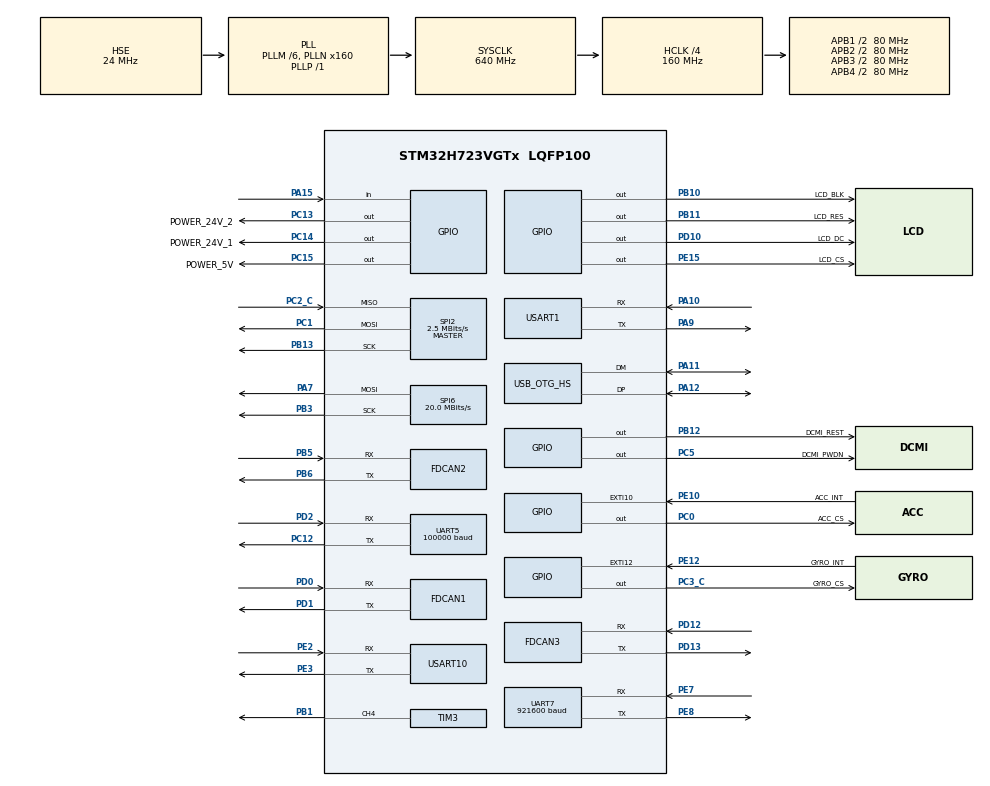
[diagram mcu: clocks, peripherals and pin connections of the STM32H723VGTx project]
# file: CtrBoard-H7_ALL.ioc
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Dma.Request0=UART5_RX
Dma.Request1=SPI2_RX
Dma.Request2=SPI2_TX
Dma.Request3=USART10_RX
Dma.Request4=USART1_RX
Dma.Request5=USART1_TX
Dma.Request6=UART7_RX
Dma.Request7=UART7_TX
Dma.SPI2_RX.1.Direction=DMA_PERIPH_TO_MEMORY
Dma.SPI2_RX.1.EventEnable=DISABLE
Dma.SPI2_RX.1.FIFOMode=DMA_FIFOMODE_DISABLE
Dma.SPI2_RX.1.Instance=DMA2_Stream0
Dma.SPI2_RX.1.MemDataAlignment=DMA_MDATAALIGN_BYTE
Dma.SPI2_RX.1.MemInc=DMA_MINC_ENABLE
Dma.SPI2_RX.1.Mode=DMA_NORMAL
Dma.SPI2_RX.1.PeriphDataAlignment=DMA_PDATAALIGN_BYTE
Dma.SPI2_RX.1.PeriphInc=DMA_PINC_DISABLE
Dma.SPI2_RX.1.Polarity=HAL_DMAMUX_REQ_GEN_RISING
Dma.SPI2_RX.1.Priority=DMA_PRIORITY_VERY_HIGH
Dma.SPI2_RX.1.RequestNumber=1
Dma.SPI2_RX.1.SignalID=NONE
Dma.SPI2_RX.1.SyncEnable=DISABLE
Dma.SPI2_RX.1.SyncPolarity=HAL_DMAMUX_SYNC_NO_EVENT
Dma.SPI2_RX.1.SyncRequestNumber=1
Dma.SPI2_RX.1.SyncSignalID=NONE
Dma.SPI2_TX.2.Direction=DMA_MEMORY_TO_PERIPH
Dma.SPI2_TX.2.EventEnable=DISABLE
Dma.SPI2_TX.2.FIFOMode=DMA_FIFOMODE_DISABLE
Dma.SPI2_TX.2.Instance=DMA2_Stream1
Dma.SPI2_TX.2.MemDataAlignment=DMA_MDATAALIGN_BYTE
Dma.SPI2_TX.2.MemInc=DMA_MINC_ENABLE
Dma.SPI2_TX.2.Mode=DMA_NORMAL
Dma.SPI2_TX.2.PeriphDataAlignment=DMA_PDATAALIGN_BYTE
Dma.SPI2_TX.2.PeriphInc=DMA_PINC_DISABLE
Dma.SPI2_TX.2.Polarity=HAL_DMAMUX_REQ_GEN_RISING
Dma.SPI2_TX.2.Priority=DMA_PRIORITY_HIGH
Dma.SPI2_TX.2.RequestNumber=1
Dma.SPI2_TX.2.SignalID=NONE
Dma.SPI2_TX.2.SyncEnable=DISABLE
Dma.SPI2_TX.2.SyncPolarity=HAL_DMAMUX_SYNC_NO_EVENT
Dma.SPI2_TX.2.SyncRequestNumber=1
Dma.SPI2_TX.2.SyncSignalID=NONE
Dma.UART5_RX.0.Direction=DMA_PERIPH_TO_MEMORY
Dma.UART5_RX.0.EventEnable=DISABLE
Dma.UART5_RX.0.FIFOMode=DMA_FIFOMODE_DISABLE
Dma.UART5_RX.0.Instance=DMA1_Stream1
Dma.UART5_RX.0.MemDataAlignment=DMA_MDATAALIGN_BYTE
Dma.UART5_RX.0.MemInc=DMA_MINC_ENABLE
Dma.UART5_RX.0.Mode=DMA_CIRCULAR
Dma.UART5_RX.0.PeriphDataAlignment=DMA_PDATAALIGN_BYTE
Dma.UART5_RX.0.PeriphInc=DMA_PINC_DISABLE
Dma.UART5_RX.0.Polarity=HAL_DMAMUX_REQ_GEN_RISING
Dma.UART5_RX.0.Priority=DMA_PRIORITY_VERY_HIGH
Dma.UART5_RX.0.RequestNumber=1
Dma.UART5_RX.0.SignalID=NONE
Dma.UART5_RX.0.SyncEnable=DISABLE
Dma.UART5_RX.0.SyncPolarity=HAL_DMAMUX_SYNC_NO_EVENT
Dma.UART5_RX.0.SyncRequestNumber=1
Dma.UART5_RX.0.SyncSignalID=NONE
Dma.UART7_RX.6.Direction=DMA_PERIPH_TO_MEMORY
Dma.UART7_RX.6.EventEnable=DISABLE
Dma.UART7_RX.6.FIFOMode=DMA_FIFOMODE_DISABLE
Dma.UART7_RX.6.Instance=DMA1_Stream3
Dma.UART7_RX.6.MemDataAlignment=DMA_MDATAALIGN_BYTE
Dma.UART7_RX.6.MemInc=DMA_MINC_ENABLE
Dma.UART7_RX.6.Mode=DMA_NORMAL
Dma.UART7_RX.6.PeriphDataAlignment=DMA_PDATAALIGN_BYTE
Dma.UART7_RX.6.PeriphInc=DMA_PINC_DISABLE
Dma.UART7_RX.6.Polarity=HAL_DMAMUX_REQ_GEN_RISING
Dma.UART7_RX.6.Priority=DMA_PRIORITY_LOW
Dma.UART7_RX.6.RequestNumber=1
Dma.UART7_RX.6.SignalID=NONE
Dma.UART7_RX.6.SyncEnable=DISABLE
Dma.UART7_RX.6.SyncPolarity=HAL_DMAMUX_SYNC_NO_EVENT
Dma.UART7_RX.6.SyncRequestNumber=1
Dma.UART7_RX.6.SyncSignalID=NONE
Dma.UART7_TX.7.Direction=DMA_MEMORY_TO_PERIPH
Dma.UART7_TX.7.EventEnable=DISABLE
Dma.UART7_TX.7.FIFOMode=DMA_FIFOMODE_DISABLE
Dma.UART7_TX.7.Instance=DMA1_Stream4
Dma.UART7_TX.7.MemDataAlignment=DMA_MDATAALIGN_BYTE
Dma.UART7_TX.7.MemInc=DMA_MINC_ENABLE
Dma.UART7_TX.7.Mode=DMA_NORMAL
Dma.UART7_TX.7.PeriphDataAlignment=DMA_PDATAALIGN_BYTE
Dma.UART7_TX.7.PeriphInc=DMA_PINC_DISABLE
Dma.UART7_TX.7.Polarity=HAL_DMAMUX_REQ_GEN_RISING
Dma.UART7_TX.7.Priority=DMA_PRIORITY_LOW
Dma.UART7_TX.7.RequestNumber=1
Dma.UART7_TX.7.SignalID=NONE
Dma.UART7_TX.7.SyncEnable=DISABLE
Dma.UART7_TX.7.SyncPolarity=HAL_DMAMUX_SYNC_NO_EVENT
Dma.UART7_TX.7.SyncRequestNumber=1
Dma.UART7_TX.7.SyncSignalID=NONE
Dma.USART10_RX.3.Direction=DMA_PERIPH_TO_MEMORY
Dma.USART10_RX.3.EventEnable=DISABLE
Dma.USART10_RX.3.FIFOMode=DMA_FIFOMODE_DISABLE
Dma.USART10_RX.3.Instance=DMA1_Stream2
Dma.USART10_RX.3.MemDataAlignment=DMA_MDATAALIGN_BYTE
Dma.USART10_RX.3.MemInc=DMA_MINC_ENABLE
Dma.USART10_RX.3.Mode=DMA_NORMAL
Dma.USART10_RX.3.PeriphDataAlignment=DMA_PDATAALIGN_BYTE
Dma.USART10_RX.3.PeriphInc=DMA_PINC_DISABLE
Dma.USART10_RX.3.Polarity=HAL_DMAMUX_REQ_GEN_RISING
Dma.USART10_RX.3.Priority=DMA_PRIORITY_HIGH
Dma.USART10_RX.3.RequestNumber=1
Dma.USART10_RX.3.SignalID=NONE
Dma.USART10_RX.3.SyncEnable=DISABLE
Dma.USART10_RX.3.SyncPolarity=HAL_DMAMUX_SYNC_NO_EVENT
Dma.USART10_RX.3.SyncRequestNumber=1
Dma.USART10_RX.3.SyncSignalID=NONE
Dma.USART1_RX.4.Direction=DMA_PERIPH_TO_MEMORY
Dma.USART1_RX.4.EventEnable=DISABLE
Dma.USART1_RX.4.FIFOMode=DMA_FIFOMODE_DISABLE
Dma.USART1_RX.4.Instance=DMA1_Stream5
Dma.USART1_RX.4.MemDataAlignment=DMA_MDATAALIGN_BYTE
Dma.USART1_RX.4.MemInc=DMA_MINC_ENABLE
Dma.USART1_RX.4.Mode=DMA_NORMAL
Dma.USART1_RX.4.PeriphDataAlignment=DMA_PDATAALIGN_BYTE
Dma.USART1_RX.4.PeriphInc=DMA_PINC_DISABLE
Dma.USART1_RX.4.Polarity=HAL_DMAMUX_REQ_GEN_RISING
Dma.USART1_RX.4.Priority=DMA_PRIORITY_VERY_HIGH
Dma.USART1_RX.4.RequestNumber=1
Dma.USART1_RX.4.SignalID=NONE
Dma.USART1_RX.4.SyncEnable=DISABLE
Dma.USART1_RX.4.SyncPolarity=HAL_DMAMUX_SYNC_NO_EVENT
Dma.USART1_RX.4.SyncRequestNumber=1
Dma.USART1_RX.4.SyncSignalID=NONE
Dma.USART1_TX.5.Direction=DMA_MEMORY_TO_PERIPH
Dma.USART1_TX.5.EventEnable=DISABLE
Dma.USART1_TX.5.FIFOMode=DMA_FIFOMODE_DISABLE
Dma.USART1_TX.5.Instance=DMA1_Stream6
Dma.USART1_TX.5.MemDataAlignment=DMA_MDATAALIGN_BYTE
Dma.USART1_TX.5.MemInc=DMA_MINC_ENABLE
Dma.USART1_TX.5.Mode=DMA_NORMAL
Dma.USART1_TX.5.PeriphDataAlignment=DMA_PDATAALIGN_BYTE
Dma.USART1_TX.5.PeriphInc=DMA_PINC_DISABLE
Dma.USART1_TX.5.Polarity=HAL_DMAMUX_REQ_GEN_RISING
Dma.USART1_TX.5.Priority=DMA_PRIORITY_VERY_HIGH
Dma.USART1_TX.5.RequestNumber=1
Dma.USART1_TX.5.SignalID=NONE
Dma.USART1_TX.5.SyncEnable=DISABLE
Dma.USART1_TX.5.SyncPolarity=HAL_DMAMUX_SYNC_NO_EVENT
Dma.USART1_TX.5.SyncRequestNumber=1
Dma.USART1_TX.5.SyncSignalID=NONE
FDCAN1.AutoRetransmission=DISABLE
FDCAN1.CalculateBaudRateNominal=833333
FDCAN1.CalculateTimeBitNominal=1200
FDCAN1.CalculateTimeQuantumNominal=30.0
FDCAN1.DataPrescaler=3
FDCAN1.DataSyncJumpWidth=10
FDCAN1.DataTimeSeg1=29
FDCAN1.DataTimeSeg2=10
FDCAN1.ExtFiltersNbr=0
FDCAN1.FrameFormat=FDCAN_FRAME_CLASSIC
FDCAN1.MessageRAMOffset=0
FDCAN1.NominalPrescaler=3
FDCAN1.NominalSyncJumpWidth=10
FDCAN1.NominalTimeSeg1=29
FDCAN1.NominalTimeSeg2=10
FDCAN1.ProtocolException=ENABLE
FDCAN1.RxBuffersNbr=0
FDCAN1.RxFifo0ElmtsNbr=4
FDCAN1.RxFifo1ElmtsNbr=0
FDCAN1.StdFiltersNbr=14
FDCAN1.TxBuffersNbr=0
FDCAN1.TxEventsNbr=0
FDCAN1.TxFifoQueueElmtsNbr=4
FDCAN2.AutoRetransmission=DISABLE
FDCAN2.CalculateBaudRateNominal=833333
FDCAN2.CalculateTimeBitNominal=1200
FDCAN2.CalculateTimeQuantumNominal=30.0
FDCAN2.DataPrescaler=3
FDCAN2.DataSyncJumpWidth=10
FDCAN2.DataTimeSeg1=29
FDCAN2.DataTimeSeg2=10
FDCAN2.ExtFiltersNbr=0
FDCAN2.FrameFormat=FDCAN_FRAME_CLASSIC
FDCAN2.MessageRAMOffset=852
FDCAN2.NominalPrescaler=3
FDCAN2.NominalSyncJumpWidth=10
FDCAN2.NominalTimeSeg1=29
FDCAN2.NominalTimeSeg2=10
FDCAN2.ProtocolException=DISABLE
FDCAN2.RxBuffersNbr=0
FDCAN2.RxFifo0ElmtsNbr=0
FDCAN2.RxFifo1ElmtsNbr=4
FDCAN2.StdFiltersNbr=14
FDCAN2.TxBuffersNbr=0
FDCAN2.TxEventsNbr=0
FDCAN2.TxFifoQueueElmtsNbr=4
FDCAN3.AutoRetransmission=DISABLE
FDCAN3.CalculateBaudRateNominal=833333
FDCAN3.CalculateTimeBitNominal=1200
FDCAN3.CalculateTimeQuantumNominal=30.0
FDCAN3.DataPrescaler=3
FDCAN3.DataSyncJumpWidth=10
FDCAN3.DataTimeSeg1=29
FDCAN3.DataTimeSeg2=10
FDCAN3.ExtFiltersNbr=0
FDCAN3.FrameFormat=FDCAN_FRAME_CLASSIC
FDCAN3.MessageRAMOffset=1706
FDCAN3.NominalPrescaler=3
FDCAN3.NominalSyncJumpWidth=10
FDCAN3.NominalTimeSeg1=29
FDCAN3.NominalTimeSeg2=10
FDCAN3.ProtocolException=DISABLE
FDCAN3.RxBuffersNbr=0
FDCAN3.RxFifo0ElmtsNbr=4
FDCAN3.RxFifo1ElmtsNbr=0
FDCAN3.StdFiltersNbr=14
FDCAN3.TxBuffersNbr=0
FDCAN3.TxEventsNbr=0
FDCAN3.TxFifoQueueElmtsNbr=4
FREERTOS.INCLUDE_eTaskGetState=1
FREERTOS.INCLUDE_uxTaskGetStackHighWaterMark=1
FREERTOS.INCLUDE_vTaskDelayUntil=1
FREERTOS.INCLUDE_xQueueGetMutexHolder=1
FREERTOS.INCLUDE_xTaskGetCurrentTaskHandle=1
FREERTOS.INCLUDE_xTimerPendFunctionCall=1
FREERTOS.Tasks01=defaultTask,2,128,StartDefaultTask,As weak,NULL,Dynamic,NULL,NULL
FREERTOS.configENABLE_FPU=1
FREERTOS.configTOTAL_HEAP_SIZE=200000
FREERTOS.configUSE_COUNTING_SEMAPHORES=1
FREERTOS.configUSE_NEWLIB_REENTRANT=1
FREERTOS.configUSE_RECURSIVE_MUTEXES=1
FREERTOS.configUSE_TIMERS=1
FREERTOS.configUSE_TRACE_FACILITY=1
Mcu.Family=STM32H7
Mcu.Name=STM32H723VGTx
Mcu.Package=LQFP100
NVIC.DMA1_Stream1_IRQn=true\:5\:0\:false\:false\:true\:true\:false\:true\:true
NVIC.DMA1_Stream2_IRQn=true\:5\:0\:false\:false\:true\:false\:false\:true\:true
NVIC.DMA1_Stream3_IRQn=true\:5\:0\:false\:false\:true\:false\:false\:true\:true
NVIC.DMA1_Stream4_IRQn=true\:5\:0\:false\:false\:true\:false\:false\:true\:true
NVIC.DMA1_Stream5_IRQn=true\:5\:0\:false\:false\:true\:false\:false\:true\:true
NVIC.DMA1_Stream6_IRQn=true\:5\:0\:false\:false\:true\:false\:false\:true\:true
NVIC.DMA2_Stream0_IRQn=true\:5\:0\:false\:false\:true\:false\:false\:true\:true
NVIC.DMA2_Stream1_IRQn=true\:5\:0\:false\:false\:true\:false\:false\:true\:true
NVIC.FDCAN1_IT0_IRQn=true\:5\:0\:false\:false\:true\:true\:true\:true\:true
NVIC.FDCAN2_IT0_IRQn=true\:5\:0\:false\:false\:true\:true\:true\:true\:true
NVIC.FDCAN3_IT0_IRQn=true\:5\:0\:false\:false\:true\:true\:true\:true\:true
NVIC.OTG_HS_IRQn=true\:5\:0\:false\:false\:true\:true\:true\:true\:true
NVIC.PriorityGroup=NVIC_PRIORITYGROUP_4
NVIC.SPI2_IRQn=true\:5\:0\:false\:false\:true\:true\:false\:true\:true
NVIC.TIM23_IRQn=true\:15\:0\:true\:false\:true\:false\:false\:true\:true
NVIC.TIM4_IRQn=true\:5\:0\:false\:false\:true\:true\:true\:true\:true
NVIC.TimeBase=TIM23_IRQn
NVIC.TimeBaseIP=TIM23
NVIC.UART5_IRQn=true\:5\:0\:false\:false\:true\:true\:true\:true\:true
NVIC.UART7_IRQn=true\:5\:0\:false\:false\:true\:true\:true\:true\:true
NVIC.USART10_IRQn=true\:5\:0\:false\:false\:true\:true\:true\:true\:true
NVIC.USART1_IRQn=true\:5\:0\:false\:false\:true\:true\:true\:true\:true
PA1.Signal=OCTOSPIM_P1_IO3
PA10.Mode=Asynchronous
PA10.Signal=USART1_RX
PA11.Mode=Device_Only_FS
PA11.Signal=USB_OTG_HS_DM
PA12.Mode=Device_Only_FS
PA12.Signal=USB_OTG_HS_DP
PA13(JTMS/SWDIO).Signal=DEBUG_JTMS-SWDIO
PA14(JTCK/SWCLK).Signal=DEBUG_JTCK-SWCLK
PA15(JTDI).Signal=GPIO_Input
PA3.Signal=OCTOSPIM_P1_IO2
PA5.Signal=ADCx_INP19
PA7.Mode=TX_Only_Simplex_Unidirect_Master
PA7.Signal=SPI6_MOSI
PA8.Signal=RCC_MCO_1
PA9.GPIO_Speed=GPIO_SPEED_FREQ_LOW
PA9.Mode=Asynchronous
PA9.Signal=USART1_TX
PB0.Signal=OCTOSPIM_P1_IO1
PB1.Signal=S_TIM3_CH4
PB10.GPIO_Label=LCD_BLK
PB10.Signal=GPIO_Output
PB11.GPIO_Label=LCD_RES
PB11.Signal=GPIO_Output
PB12.GPIO_Label=DCMI_REST
PB12.GPIO_PuPd=GPIO_PULLUP
PB12.GPIO_Speed=GPIO_SPEED_FREQ_VERY_HIGH
PB12.PinState=GPIO_PIN_SET
PB12.Signal=GPIO_Output
PB13.GPIO_Speed=GPIO_SPEED_FREQ_VERY_HIGH
PB13.Mode=Full_Duplex_Master
PB13.Signal=SPI2_SCK
PB15.Signal=S_TIM12_CH2
PB2.Signal=OCTOSPIM_P1_CLK
PB3(JTDO/TRACESWO).Mode=TX_Only_Simplex_Unidirect_Master
PB3(JTDO/TRACESWO).Signal=SPI6_SCK
PB5.Mode=FDCAN_Activate
PB5.Signal=FDCAN2_RX
PB6.Mode=FDCAN_Activate
PB6.Signal=FDCAN2_TX
PC0.GPIO_Label=ACC_CS
PC0.GPIO_Speed=GPIO_SPEED_FREQ_VERY_HIGH
PC0.PinState=GPIO_PIN_SET
PC0.Signal=GPIO_Output
PC1.GPIO_Speed=GPIO_SPEED_FREQ_VERY_HIGH
PC1.Mode=Full_Duplex_Master
PC1.Signal=SPI2_MOSI
PC12.GPIO_Speed=GPIO_SPEED_FREQ_LOW
PC12.Mode=Asynchronous
PC12.Signal=UART5_TX
PC13.GPIO_Label=POWER_24V_2
PC13.PinState=GPIO_PIN_SET
PC13.Signal=GPIO_Output
PC14-OSC32_IN.GPIO_Label=POWER_24V_1
PC14-OSC32_IN.PinState=GPIO_PIN_SET
PC14-OSC32_IN.Signal=GPIO_Output
PC15-OSC32_OUT.GPIO_Label=POWER_5V
PC15-OSC32_OUT.PinState=GPIO_PIN_SET
PC15-OSC32_OUT.Signal=GPIO_Output
PC2_C.GPIO_Speed=GPIO_SPEED_FREQ_VERY_HIGH
PC2_C.Mode=Full_Duplex_Master
PC2_C.Signal=SPI2_MISO
PC3_C.GPIO_Label=GYRO_CS
PC3_C.GPIO_Speed=GPIO_SPEED_FREQ_VERY_HIGH
PC3_C.PinState=GPIO_PIN_SET
PC3_C.Signal=GPIO_Output
PC4.Signal=ADCx_INP4
PC5.GPIO_Label=DCMI_PWDN
PC5.GPIO_PuPd=GPIO_NOPULL
PC5.GPIO_Speed=GPIO_SPEED_FREQ_VERY_HIGH
PC5.PinState=GPIO_PIN_SET
PC5.Signal=GPIO_Output
PD0.Mode=FDCAN_Activate
PD0.Signal=FDCAN1_RX
PD1.Mode=FDCAN_Activate
PD1.Signal=FDCAN1_TX
PD10.GPIO_Label=LCD_DC
PD10.Signal=GPIO_Output
PD11.Signal=OCTOSPIM_P1_IO0
PD12.Mode=FDCAN_Activate
PD12.Signal=FDCAN3_RX
PD13.Mode=FDCAN_Activate
PD13.Signal=FDCAN3_TX
PD2.GPIO_Speed=GPIO_SPEED_FREQ_LOW
PD2.Mode=Asynchronous
PD2.Signal=UART5_RX
PD4.Signal=USART2_DE
PD5.Signal=USART2_TX
PD6.Signal=USART2_RX
PD7.GPIO_Speed=GPIO_SPEED_FREQ_VERY_HIGH
PD7.Signal=SPI1_MOSI
PE10.GPIO_Label=ACC_INT
PE10.Signal=GPXTI10
PE11.Signal=OCTOSPIM_P1_NCS
PE12.GPIO_Label=GYRO_INT
PE12.Signal=GPXTI12
PE15.GPIO_Label=LCD_CS
PE15.Signal=GPIO_Output
PE2.Mode=Asynchronous
PE2.Signal=USART10_RX
PE3.Mode=Asynchronous
PE3.Signal=USART10_TX
PE7.Mode=Asynchronous
PE7.Signal=UART7_RX
PE8.Mode=Asynchronous
PE8.Signal=UART7_TX
PH0-OSC_IN.Mode=HSE-External-Oscillator
PH0-OSC_IN.Signal=RCC_OSC_IN
PH1-OSC_OUT.Mode=HSE-External-Oscillator
PH1-OSC_OUT.Signal=RCC_OSC_OUT
ProjectManager.HeapSize=0x400
ProjectManager.StackSize=0x1000
ProjectManager.TargetToolchain=STM32CubeIDE
RCC.ADCFreq_Value=100000000
RCC.APB1Freq_Value=80000000
RCC.APB2Freq_Value=80000000
RCC.APB3Freq_Value=80000000
RCC.APB4Freq_Value=80000000
RCC.CortexFreq_Value=640000000
RCC.D1PPRE=RCC_APB3_DIV2
RCC.D2PPRE1=RCC_APB1_DIV2
RCC.D2PPRE2=RCC_APB2_DIV2
RCC.D3PPRE=RCC_APB4_DIV2
RCC.DIVM1=6
RCC.DIVM2=24
RCC.DIVM3=24
RCC.DIVN1=160
RCC.DIVN2=200
RCC.DIVN3=160
RCC.DIVP1=1
RCC.DIVQ1=4
RCC.ExtClockEnable-ClockTree=true
RCC.FDCANCLockSelection=RCC_FDCANCLKSOURCE_PLL2
RCC.HCLKFreq_Value=160000000
RCC.HPRE=RCC_HCLK_DIV4
RCC.HSE_VALUE=24000000
RCC.PLL1_VCO_SEL-AdvancedSettings=RCC_PLL1VCOWIDE
RCC.PLL2FRACN=0
RCC.PLL2_VCI_Range-AdvancedSettings=RCC_PLL2VCIRANGE_0
RCC.PLL2_VCO_SEL-AdvancedSettings=RCC_PLL2VCOMEDIUM
RCC.PLL3FRACN=0
RCC.PLL3_VCI_Range-AdvancedSettings=RCC_PLL3VCIRANGE_0
RCC.PLL3_VCO_SEL-AdvancedSettings=RCC_PLL3VCOWIDE
RCC.PLLFRACN=0
RCC.PLLSourceVirtual=RCC_PLLSOURCE_HSE
RCC.SPI123CLockSelection=RCC_SPI123CLKSOURCE_PLL3
RCC.SYSCLKFreq_VALUE=640000000
RCC.SYSCLKSource=RCC_SYSCLKSOURCE_PLLCLK
RCC.USART16CLockSelection=RCC_USART16910CLKSOURCE_PLL2
RCC.USBCLockSelection=RCC_USBCLKSOURCE_HSI48
RCC.USBFreq_Value=48000000
SH.ADCx_INP19.0=ADC1_INP19
SH.ADCx_INP4.0=ADC1_INP4
SH.S_TIM12_CH2.0=TIM12_CH2
SH.S_TIM3_CH4.0=TIM3_CH4,PWM Generation4 CH4
SPI2.BaudRatePrescaler=SPI_BAUDRATEPRESCALER_32
SPI2.CLKPhase=SPI_PHASE_2EDGE
SPI2.CLKPolarity=SPI_POLARITY_HIGH
SPI2.CalculateBaudRate=2.5 MBits/s
SPI2.DataSize=SPI_DATASIZE_8BIT
SPI2.Direction=SPI_DIRECTION_2LINES
SPI2.Mode=SPI_MODE_MASTER
SPI2.VirtualType=VM_MASTER
SPI6.BaudRatePrescaler=SPI_BAUDRATEPRESCALER_4
SPI6.CLKPhase=SPI_PHASE_2EDGE
SPI6.CalculateBaudRate=20.0 MBits/s
SPI6.DataSize=SPI_DATASIZE_8BIT
SPI6.Direction=SPI_DIRECTION_2LINES_TXONLY
SPI6.Mode=SPI_MODE_MASTER
SPI6.VirtualType=VM_MASTER
STMicroelectronics.X-CUBE-ALGOBUILD.1.4.0.LibraryCcDSPOoLibraryJjDSPOoLibrary=true
TIM3.AutoReloadPreload=TIM_AUTORELOAD_PRELOAD_ENABLE
TIM3.Channel-PWM\ Generation4\ CH4=TIM_CHANNEL_4
TIM3.Period=10000-1
TIM3.Prescaler=24-1
TIM4.AutoReloadPreload=TIM_AUTORELOAD_PRELOAD_ENABLE
TIM4.Period=959
TIM4.Prescaler=999
UART5.BaudRate=100000
UART5.Parity=PARITY_EVEN
UART5.StopBits=UART_STOPBITS_2
UART5.WordLength=WORDLENGTH_9B
UART7.BaudRate=921600
USART1.VirtualMode-Asynchronous=VM_ASYNC
USART10.VirtualMode=VM_ASYNC
USB_DEVICE.CLASS_NAME_HS=CDC
USB_DEVICE.VirtualMode=Cdc
USB_DEVICE.VirtualModeHS=Cdc_HS
USB_OTG_HS.VirtualMode-Device_Only_FS=Device_Only_FS
VP_FREERTOS_VS_CMSIS_V1.Mode=CMSIS_V1
VP_MEMORYMAP_VS_MEMORYMAP.Mode=CurAppReg
VP_STMicroelectronics.X-CUBE-ALGOBUILD_VS_DSPOoLibraryJjLibrary_1.4.0_1.4.0.Mode=DSPOoLibraryJjLibrary
VP_SYS_VS_tim23.Mode=TIM23
VP_TIM4_VS_ClockSourceINT.Mode=Internal
VP_USB_DEVICE_VS_USB_DEVICE_CDC_HS.Mode=CDC_HS
board=custom

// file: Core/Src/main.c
/* USER CODE BEGIN Header */
/**
  ******************************************************************************
  * @file           : main.c
  * @brief          : Main program body
  ******************************************************************************
  * @attention
  *
  * Copyright (c) 2025 STMicroelectronics.
  * All rights reserved.
  *
  * This software is licensed under terms that can be found in the LICENSE file
  * in the root directory of this software component.
  * If no LICENSE file comes with this software, it is provided AS-IS.
  *
  ******************************************************************************
  */
/* USER CODE END Header */
#include "main.h"
#include "cmsis_os.h"
#include "dma.h"
#include "fdcan.h"
#include "spi.h"
#include "tim.h"
#include "usart.h"
#include "usb_device.h"
#include "gpio.h"

/* USER CODE BEGIN Includes */
#include "SEGGER_RTT.h"
#include "SEGGER_SYSVIEW.h"
#include "BMI088driver.h"
#include "drv_dwt.h"
#include "hal_can.h"
#include "robot.h"

/* USER CODE END Includes */

/* USER CODE BEGIN PTD */
// 全局声明信号量

/* USER CODE END PTD */

void SystemClock_Config(void);
void PeriphCommonClock_Config(void);
void MX_FREERTOS_Init(void);

int main(void)
{

  /* MCU Configuration--------------------------------------------------------*/

  /* Reset of all peripherals, Initializes the Flash interface and the Systick. */
  HAL_Init();

  /* Configure the system clock */
  SystemClock_Config();

  /* Configure the peripherals common clocks */
  PeriphCommonClock_Config();

  /* Initialize all configured peripherals */
  MX_GPIO_Init();
  MX_DMA_Init();
  MX_FDCAN1_Init();
  MX_FDCAN2_Init();
  MX_FDCAN3_Init();
  MX_UART5_Init();
  MX_SPI2_Init();
  MX_TIM3_Init();
  MX_TIM4_Init();
  MX_USART10_UART_Init();
  MX_SPI6_Init();
  MX_USART1_UART_Init();
  MX_UART7_Init();
  /* USER CODE BEGIN 2 */
  MX_USB_DEVICE_Init();

  dwt_init(SystemCoreClock);
  CAN_service_init();
  BMI088_init(&hspi2);
  robot_init();
  SEGGER_SYSVIEW_Conf();
  SEGGER_RTT_Init();//系统日志log初始化
  HAL_TIM_Base_Start_IT(&htim4);
  /* USER CODE END 2 */

  /* Call init function for freertos objects (in cmsis_os2.c) */
  MX_FREERTOS_Init();

  /* Start scheduler */
  osKernelStart();

  /* We should never get here as control is now taken by the scheduler */

  /* Infinite loop */
  while (1)
  {

  }
}

void SystemClock_Config(void)
{
  RCC_OscInitTypeDef RCC_OscInitStruct = {0};
  RCC_ClkInitTypeDef RCC_ClkInitStruct = {0};

  /** Supply configuration update enable
  */
  HAL_PWREx_ConfigSupply(PWR_LDO_SUPPLY);

  /** Configure the main internal regulator output voltage
  */
  __HAL_PWR_VOLTAGESCALING_CONFIG(PWR_REGULATOR_VOLTAGE_SCALE1);

  while(!__HAL_PWR_GET_FLAG(PWR_FLAG_VOSRDY)) {}

  /** Initializes the RCC Oscillators according to the specified parameters
  * in the RCC_OscInitTypeDef structure.
  */
  RCC_OscInitStruct.OscillatorType = RCC_OSCILLATORTYPE_HSI48|RCC_OSCILLATORTYPE_HSE;
  RCC_OscInitStruct.HSEState = RCC_HSE_ON;
  RCC_OscInitStruct.HSI48State = RCC_HSI48_ON;
  RCC_OscInitStruct.PLL.PLLState = RCC_PLL_ON;
  RCC_OscInitStruct.PLL.PLLSource = RCC_PLLSOURCE_HSE;
  RCC_OscInitStruct.PLL.PLLM = 6;
  RCC_OscInitStruct.PLL.PLLN = 160;
  RCC_OscInitStruct.PLL.PLLP = 1;
  RCC_OscInitStruct.PLL.PLLQ = 4;
  RCC_OscInitStruct.PLL.PLLR = 2;
  RCC_OscInitStruct.PLL.PLLRGE = RCC_PLL1VCIRANGE_2;
  RCC_OscInitStruct.PLL.PLLVCOSEL = RCC_PLL1VCOWIDE;
  RCC_OscInitStruct.PLL.PLLFRACN = 0;
  if (HAL_RCC_OscConfig(&RCC_OscInitStruct) != HAL_OK)
  {
    Error_Handler();
  }

  /** Initializes the CPU, AHB and APB buses clocks
  */
  RCC_ClkInitStruct.ClockType = RCC_CLOCKTYPE_HCLK|RCC_CLOCKTYPE_SYSCLK
                              |RCC_CLOCKTYPE_PCLK1|RCC_CLOCKTYPE_PCLK2
                              |RCC_CLOCKTYPE_D3PCLK1|RCC_CLOCKTYPE_D1PCLK1;
  RCC_ClkInitStruct.SYSCLKSource = RCC_SYSCLKSOURCE_PLLCLK;
  RCC_ClkInitStruct.SYSCLKDivider = RCC_SYSCLK_DIV1;
  RCC_ClkInitStruct.AHBCLKDivider = RCC_HCLK_DIV4;
  RCC_ClkInitStruct.APB3CLKDivider = RCC_APB3_DIV2;
  RCC_ClkInitStruct.APB1CLKDivider = RCC_APB1_DIV2;
  RCC_ClkInitStruct.APB2CLKDivider = RCC_APB2_DIV2;
  RCC_ClkInitStruct.APB4CLKDivider = RCC_APB4_DIV2;

  if (HAL_RCC_ClockConfig(&RCC_ClkInitStruct, FLASH_LATENCY_2) != HAL_OK)
  {
    Error_Handler();
  }
}

void PeriphCommonClock_Config(void)
{
  RCC_PeriphCLKInitTypeDef PeriphClkInitStruct = {0};

  /** Initializes the peripherals clock
  */
  PeriphClkInitStruct.PeriphClockSelection = RCC_PERIPHCLK_FDCAN|RCC_PERIPHCLK_USART1
                              |RCC_PERIPHCLK_USART10;
  PeriphClkInitStruct.PLL2.PLL2M = 24;
  PeriphClkInitStruct.PLL2.PLL2N = 200;
  PeriphClkInitStruct.PLL2.PLL2P = 2;
  PeriphClkInitStruct.PLL2.PLL2Q = 2;
  PeriphClkInitStruct.PLL2.PLL2R = 2;
  PeriphClkInitStruct.PLL2.PLL2RGE = RCC_PLL2VCIRANGE_0;
  PeriphClkInitStruct.PLL2.PLL2VCOSEL = RCC_PLL2VCOMEDIUM;
  PeriphClkInitStruct.PLL2.PLL2FRACN = 0;
  PeriphClkInitStruct.FdcanClockSelection = RCC_FDCANCLKSOURCE_PLL2;
  PeriphClkInitStruct.Usart16ClockSelection = RCC_USART16910CLKSOURCE_PLL2;
  if (HAL_RCCEx_PeriphCLKConfig(&PeriphClkInitStruct) != HAL_OK)
  {
    Error_Handler();
  }
}

void Error_Handler(void)
{
  __disable_irq();
  while (1)
  {
  }
}

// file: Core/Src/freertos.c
/* USER CODE BEGIN Header */
/**
  ******************************************************************************
  * File Name          : freertos.c
  * Description        : Code for freertos applications
  ******************************************************************************
  * @attention
  *
  * Copyright (c) 2025 STMicroelectronics.
  * All rights reserved.
  *
  * This software is licensed under terms that can be found in the LICENSE file
  * in the root directory of this software component.
  * If no LICENSE file comes with this software, it is provided AS-IS.
  *
  ******************************************************************************
  */
/* USER CODE END Header */

#include "FreeRTOS.h"
#include "task.h"
#include "main.h"
#include "cmsis_os.h"

/* USER CODE BEGIN Includes */
#include "ws2812.h"
/* USER CODE END Includes */

osThreadId defaultTaskHandle;

void StartDefaultTask(void const * argument);

extern void MX_USB_DEVICE_Init(void);
void MX_FREERTOS_Init(void); /* (MISRA C 2004 rule 8.1) */

/* GetIdleTaskMemory prototype (linked to static allocation support) */
void vApplicationGetIdleTaskMemory( StaticTask_t **ppxIdleTaskTCBBuffer, StackType_t **ppxIdleTaskStackBuffer, uint32_t *pulIdleTaskStackSize );

/* GetTimerTaskMemory prototype (linked to static allocation support) */
void vApplicationGetTimerTaskMemory( StaticTask_t **ppxTimerTaskTCBBuffer, StackType_t **ppxTimerTaskStackBuffer, uint32_t *pulTimerTaskStackSize );

/* USER CODE BEGIN GET_IDLE_TASK_MEMORY */
static StaticTask_t xIdleTaskTCBBuffer;
static StackType_t xIdleStack[configMINIMAL_STACK_SIZE];

void vApplicationGetIdleTaskMemory( StaticTask_t **ppxIdleTaskTCBBuffer, StackType_t **ppxIdleTaskStackBuffer, uint32_t *pulIdleTaskStackSize )
{
  *ppxIdleTaskTCBBuffer = &xIdleTaskTCBBuffer;
  *ppxIdleTaskStackBuffer = &xIdleStack[0];
  *pulIdleTaskStackSize = configMINIMAL_STACK_SIZE;
  /* place for user code */
}
/* USER CODE END GET_IDLE_TASK_MEMORY */

/* USER CODE BEGIN GET_TIMER_TASK_MEMORY */
static StaticTask_t xTimerTaskTCBBuffer;
static StackType_t xTimerStack[configTIMER_TASK_STACK_DEPTH];

void vApplicationGetTimerTaskMemory( StaticTask_t **ppxTimerTaskTCBBuffer, StackType_t **ppxTimerTaskStackBuffer, uint32_t *pulTimerTaskStackSize )
{
  *ppxTimerTaskTCBBuffer = &xTimerTaskTCBBuffer;
  *ppxTimerTaskStackBuffer = &xTimerStack[0];
  *pulTimerTaskStackSize = configTIMER_TASK_STACK_DEPTH;
  /* place for user code */
}
/* USER CODE END GET_TIMER_TASK_MEMORY */

void MX_FREERTOS_Init(void) {

  /* Create the thread(s) */
  /* definition and creation of defaultTask */
  osThreadDef(defaultTask, StartDefaultTask, osPriorityHigh, 0, 128);
  defaultTaskHandle = osThreadCreate(osThread(defaultTask), NULL);

}

__weak void StartDefaultTask(void const * argument)
{
  /* init code for USB_DEVICE */
  MX_USB_DEVICE_Init();
  /* USER CODE BEGIN StartDefaultTask */
  /* Infinite loop */
  for(;;)
  {
      WS2812_Ctrl(1, 100, 1);
      osDelay(1000);
      WS2812_Ctrl(0, 0, 0);
      osDelay(1000);

  }
  /* USER CODE END StartDefaultTask */
}
